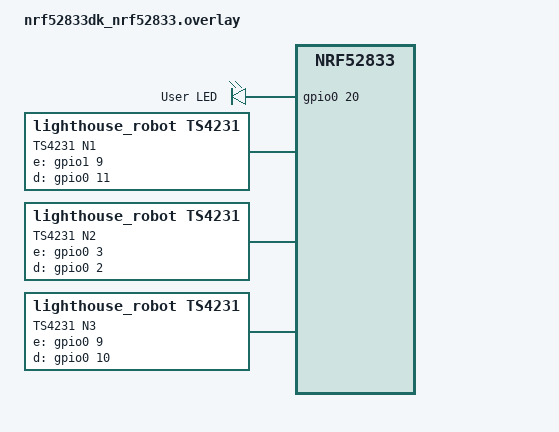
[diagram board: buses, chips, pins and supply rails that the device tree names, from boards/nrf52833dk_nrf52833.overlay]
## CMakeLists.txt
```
cmake_minimum_required(VERSION 3.20.0)
find_package(Zephyr REQUIRED HINTS $ENV{ZEPHYR_BASE})

project(lighthouse_20260714)

target_sources(app PRIVATE
	src/main.c
	src/led/led.c
	src/bt_advertise/bt_advertise.c
	src/bt_scan/bt_scan.c
	src/ppi/ppi.c
	src/ppi/timer.c
	src/ts4231/ts4231.c
	src/ts4231/ts4231_sensors.c
	src/pos/pos.c
	src/robot_pose/robot_pose.c
	src/uart_out/uart_out.c
)

target_include_directories(app PRIVATE
	src/led
	src/bt_advertise
	src/bt_scan
	src/ppi
	src/ts4231
	src/pos
	src/robot_pose
	src/uart_out
)
```

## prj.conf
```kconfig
CONFIG_GPIO=y

CONFIG_LOG=y
CONFIG_LOG_DEFAULT_LEVEL=3

CONFIG_BT=y
CONFIG_BT_PERIPHERAL=y
CONFIG_BT_OBSERVER=y
CONFIG_BT_DEVICE_NAME="lighthouse_robot"

CONFIG_BT_PRIVACY=n
CONFIG_BT_SETTINGS=n

CONFIG_ZERO_LATENCY_IRQS=y

# --- dual-output pose stream (BLE + UART0) ---
CONFIG_SERIAL=y
CONFIG_CONSOLE=n
CONFIG_PRINTK=n
CONFIG_UART_CONSOLE=n
```

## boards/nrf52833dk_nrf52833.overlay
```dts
/ {
	leds {
		user_led: led_user {
			gpios = <&gpio0 20 GPIO_ACTIVE_HIGH>;
			label = "User LED";
		};
	};

	aliases {
		my-led = &user_led;
	};

	ts4231_n1: ts4231_n1 {
		compatible = "lighthouse_robot,ts4231";
		e-gpios = <&gpio1 9 GPIO_ACTIVE_HIGH>;
		d-gpios = <&gpio0 11 GPIO_ACTIVE_HIGH>;
		label = "TS4231 N1";
	};

	ts4231_n2: ts4231_n2 {
		compatible = "lighthouse_robot,ts4231";
		e-gpios = <&gpio0 3 GPIO_ACTIVE_HIGH>;
		d-gpios = <&gpio0 2 GPIO_ACTIVE_HIGH>;
		label = "TS4231 N2";
	};

	ts4231_n3: ts4231_n3 {
		compatible = "lighthouse_robot,ts4231";
		e-gpios = <&gpio0 9 GPIO_ACTIVE_HIGH>;
		d-gpios = <&gpio0 10 GPIO_ACTIVE_HIGH>;
		label = "TS4231 N3";
	};

	chosen {
		/* Disable any chosen bindings the board DTS sets on uart0.
		 * UART0 is dedicated to the pose text stream; console / shell /
		 * bt-monitor / bt-c2h / mcumgr-uart must not mux onto it.
		 */
		/delete-property/ zephyr,console;
		/delete-property/ zephyr,shell-uart;
		/delete-property/ zephyr,uart-mcumgr;
		/delete-property/ zephyr,bt-mon-uart;
		/delete-property/ zephyr,bt-c2h-uart;
	};
};

/* Remap UART0 to P0.28 (TXD) / P0.29 (RXD) for the user's custom board.
 * Default DK pinout (P0.06/P0.08 for virtual COM) is overridden here.
 * SWD / flashing pins are unaffected — only the UART0 peripheral's PSEL.
 * Note: the board DTS already binds &uart0's pinctrl-0 to &uart0_default,
 * so redefining the labeled node below is sufficient — no &uart0 edits needed.
 * group1 keeps TX (active), group2 keeps RX (was P0.08 + CTS P0.07 with bias-pull-up,
 * which would otherwise leak through from the merged board DTS).
 */
&pinctrl {
	uart0_default: uart0_default {
		group1 {
			psels = <NRF_PSEL(UART_TX, 0, 28)>;
		};
		group2 {
			psels = <NRF_PSEL(UART_RX, 0, 29)>;
			/delete-property/ bias-pull-up;
		};
	};
};
```

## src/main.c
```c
#include <zephyr/kernel.h>
#include <zephyr/sys/printk.h>
#include <nrfx.h>
#include <string.h>

#include "led.h"
#include "bt_advertise.h"
#include "bt_scan.h"
#include "ts4231.h"
#include "ts4231_sensors.h"
#include "ppi.h"
#include "pos.h"
#include "robot_pose.h"
#include "lighthouse_config.h"
#include "lighthouse_pkt.h"
#include "uart_out.h"

#include <zephyr/logging/log.h>
LOG_MODULE_REGISTER(main_app, CONFIG_LOG_DEFAULT_LEVEL);

static const lighthouse_point cal_pos[] = {
	{0.0, 0.0, 0.0},
	{594.0, 0.0, 0.0},
	{594.0, 420.0, 0.0}
};

static const lighthouse_angles cal_angles[] = {
	{82.556, 74.598},
	{88.518, 87.382},
	{81.198, 91.95}
};

static lighthouse_result calib_result;

#define POSE_Q_SIZE 4
static struct {
	lighthouse_pkt_t buf[POSE_Q_SIZE];
	atomic_t head;
	atomic_t tail;
} pose_q;

static void pose_q_push(const lighthouse_pkt_t *p)
{
	uint32_t tail = (uint32_t)atomic_get(&pose_q.tail);
	pose_q.buf[tail % POSE_Q_SIZE] = *p;
	atomic_inc(&pose_q.tail);

	uint32_t head = (uint32_t)atomic_get(&pose_q.head);
	if ((uint32_t)(atomic_get(&pose_q.tail) - head) >= POSE_Q_SIZE) {
		atomic_inc(&pose_q.head);
	}
}

static bool pose_q_pop(lighthouse_pkt_t *out)
{
	uint32_t tail = (uint32_t)atomic_get(&pose_q.tail);
	uint32_t head = (uint32_t)atomic_get(&pose_q.head);

	if (head >= tail) {
		return false;
	}
	*out = pose_q.buf[head % POSE_Q_SIZE];
	atomic_inc(&pose_q.head);
	return true;
}

static uint16_t get_device_id(void)
{
	return (uint16_t)(NRF_FICR->DEVICEADDR[0] & 0xFFFFu);
}

static size_t pose_provider(uint8_t *buf, size_t max_len)
{
	if (max_len < sizeof(lighthouse_pkt_t) + 2) {
		return 0;
	}

	lighthouse_pkt_t pkt;
	if (!pose_q_pop(&pkt)) {
		return 0;
	}

	buf[0] = 0xFF;
	buf[1] = 0xFF;
	memcpy(&buf[2], &pkt, sizeof(lighthouse_pkt_t));
	return sizeof(lighthouse_pkt_t) + 2;
}

static void on_rx(const uint8_t *data, size_t len, int8_t rssi,
		  const bt_addr_le_t *addr)
{
	ARG_UNUSED(data);
	ARG_UNUSED(len);
	ARG_UNUSED(rssi);
	ARG_UNUSED(addr);
	bt_advertise_notify_rx();
}

static void on_pulse(uint8_t sensor_idx, uint32_t t_start, uint32_t t_end,
		     uint32_t duration)
{
	ARG_UNUSED(sensor_idx);
	ARG_UNUSED(t_start);
	ARG_UNUSED(t_end);
	ARG_UNUSED(duration);
}

int main(void)
{
	led_init();
	led_set_mode(LED_MODE_INIT);

	pos_init();
	robot_pose_init();

	const struct device *uart0 = DEVICE_DT_GET(DT_NODELABEL(uart0));
	if (uart_out_init(uart0) != 0) {
		LOG_WRN("uart0 not ready; pose stream disabled");
		/* do not abort — BLE path still works */
	}

	ppi_init(TIMER_3);

	ts4231_sensor_t *handles[3] = {
		ts4231_n1_handle(),
		ts4231_n2_handle(),
		ts4231_n3_handle(),
	};

	uint8_t valid_sensors = 0;
	for (int i = 0; i < 3; i++) {
		int err = ts4231_init(handles[i], 50);
		if (err) {
			printk("ts4231_n%d init fail: %d\n", i + 1, err);
			continue;
		}
		valid_sensors++;
		ts4231_sensor_attach_ppi_index(handles[i], TIMER_3, (uint8_t)i);
		printk("ts4231_n%d init OK\n", i + 1);
	}

	if (valid_sensors == 0) {
		led_set_mode(LED_MODE_ERROR);
		return -ENODEV;
	}

	if (lighthouse_calibrate(cal_pos, cal_angles, &calib_result) == 0) {
		robot_pose_set_calib_data(&calib_result);
	}

	int err = bt_enable(NULL);
	if (err) {
		led_set_mode(LED_MODE_ERROR);
		return err;
	}

	uint16_t dev_id = get_device_id();
#if LIGHTHOUSE_MODE_3D
	const char *mode_str = "3D";
	uint8_t mode_flag = 0x03;
#else
	const char *mode_str = "2D";
	uint8_t mode_flag = 0x01;
#endif
	printk("device_id=0x%04x mode=%s sensors=%u\n",
	       dev_id, mode_str, valid_sensors);

	bt_advertise_set_payload_provider(pose_provider);
	err = bt_advertise_start();
	if (err) {
		led_set_mode(LED_MODE_ERROR);
		return err;
	}

	bt_scan_register_callback(on_rx);
	err = bt_scan_start();
	if (err) {
		led_set_mode(LED_MODE_ERROR);
		return err;
	}

	while (1) {
		robot_pose_update();
		const robot_pose_t *pose = robot_pose_get();

		if (pose->valid) {
			lighthouse_pkt_t pkt;

			pkt.mode = mode_flag;
			pkt.id_lo = (uint8_t)(dev_id & 0xFFu);
			pkt.id_hi = (uint8_t)((dev_id >> 8) & 0xFFu);
			pkt.x_le = (float)pose->position.x;
			pkt.y_le = (float)pose->position.y;
			pkt.z_le = (float)pose->position.z;

			pose_q_push(&pkt);
			uart_out_push(&pkt);
		}
		k_msleep(10);
	}

	return 0;
}
```
